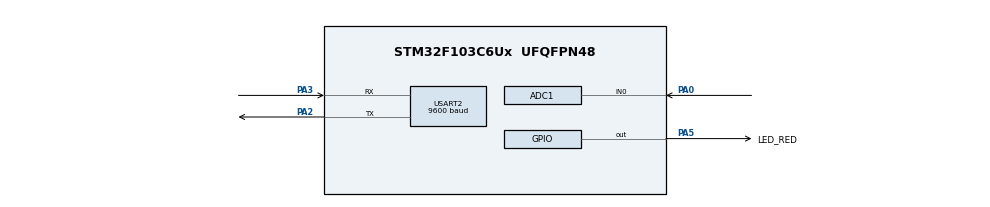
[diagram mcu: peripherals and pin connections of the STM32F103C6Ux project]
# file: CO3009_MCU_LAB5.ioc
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ADC1.Channel-0\#ChannelRegularConversion=ADC_CHANNEL_0
ADC1.ContinuousConvMode=ENABLE
ADC1.NbrOfConversionFlag=1
ADC1.Rank-0\#ChannelRegularConversion=1
ADC1.SamplingTime-0\#ChannelRegularConversion=ADC_SAMPLETIME_1CYCLE_5
ADC1.master=1
Mcu.Family=STM32F1
Mcu.Name=STM32F103C6Ux
Mcu.Package=UFQFPN48
NVIC.PriorityGroup=NVIC_PRIORITYGROUP_4
NVIC.TIM2_IRQn=true\:0\:0\:false\:false\:true\:true\:true
NVIC.USART2_IRQn=true\:0\:0\:false\:false\:true\:true\:true
PA0-WKUP.Signal=ADCx_IN0
PA2.Mode=Asynchronous
PA2.Signal=USART2_TX
PA3.Mode=Asynchronous
PA3.Signal=USART2_RX
PA5.GPIO_Label=LED_RED
PA5.Signal=GPIO_Output
ProjectManager.HeapSize=0x200
ProjectManager.StackSize=0x400
ProjectManager.TargetToolchain=STM32CubeIDE
RCC.APB1Freq_Value=8000000
RCC.APB2Freq_Value=8000000
SH.ADCx_IN0.0=ADC1_IN0,IN0
TIM2.Period=9
TIM2.Prescaler=7999
USART2.BaudRate=9600
USART2.VirtualMode=VM_ASYNC
VP_SYS_VS_ND.Mode=No_Debug
VP_TIM2_VS_ClockSourceINT.Mode=Internal
board=custom

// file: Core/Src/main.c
/* USER CODE BEGIN Header */
/**
  ******************************************************************************
  * @file           : main.c
  * @brief          : Main program body
  ******************************************************************************
  * @attention
  *
  * <h2><center>&copy; Copyright (c) 2021 STMicroelectronics.
  * All rights reserved.</center></h2>
  *
  * This software component is licensed by ST under BSD 3-Clause license,
  * the "License"; You may not use this file except in compliance with the
  * License. You may obtain a copy of the License at:
  *                        opensource.org/licenses/BSD-3-Clause
  *
  ******************************************************************************
  */
/* USER CODE END Header */
#include "main.h"

/* USER CODE BEGIN Includes */
#include "global.h"
#include <stdio.h>
#include "software_timer.h"
/* USER CODE END Includes */

ADC_HandleTypeDef hadc1;
TIM_HandleTypeDef htim2;
UART_HandleTypeDef huart2;

enum UART_STATE 	uartState = UART_INIT;
enum CMD_STATE		cmdState = CMD_IDLE;
enum ERROR_STATE	errState = ERROR_IDLE;

uint8_t flagForOK = 0;

int waitTimerCounter = 0;
int waitTimer_flag = 0;

int isRST = 0;
int isOK = 0;

void SystemClock_Config(void);
static void MX_GPIO_Init(void);
static void MX_ADC1_Init(void);
static void MX_TIM2_Init(void);
static void MX_USART2_UART_Init(void);

/* USER CODE BEGIN 0 */
uint8_t cmdBuffer[CMD_CONTENT_MAX_LENGTH];
uint8_t buffer_flag = 0;
uint8_t cmd_content_index = 0;
uint8_t tempValue = 0;
void HAL_UART_RxCpltCallback(UART_HandleTypeDef *huart) {
	if(huart->Instance == USART2){
		HAL_UART_Transmit(&huart2, &tempValue, 1, 50);
		cmd_content_index ++;
		cmdBuffer[cmd_content_index] = tempValue;
		buffer_flag = 1;
		if(cmd_content_index >= CMD_CONTENT_MAX_LENGTH){
			cmd_content_index = 0 ;
		}
		HAL_UART_Receive_IT(&huart2, &tempValue, 1);
	}
}

/* --------> FSM_UART <----------- */
uint32_t ADC_value = 0;
char response[RESPONSE_LENGTH];
uint8_t data[] = "HELLO WORLD \r\n";
void uart_communiation_fsm(){
	switch(uartState){
	case UART_INIT:

		break;
	case UART_RST:
		uartState = UART_RESPONSE;
		break;
	case UART_RESPONSE:
		ADC_value = HAL_ADC_GetValue(&hadc1);
		HAL_UART_Transmit(&huart2, (void *)response, sprintf(response, "!ADC%ld#\r", ADC_value), 1000);
		HAL_GPIO_TogglePin(LED_RED_GPIO_Port, LED_RED_Pin);
		setTimer(TIME_FOR_5S);
		uartState = UART_WAIT_OK;
		break;
	case UART_WAIT_OK:
		if(waitTimer_flag == 1) {
			uartState = UART_END;
		}
		break;
	case UART_END:
		if(isOK == 1) isOK = 0;
		HAL_UART_Transmit(&huart2, (void *)response, sprintf(response, "END RST\r\n"), 1000);
		uartState = UART_INIT;
		break;
	case UART_ERROR:
		HAL_UART_Transmit(&huart2, (void *)response, sprintf(response, "SOMETHING WRONG HAPPENNED !!!\r\n"), 1000);
		uartState = UART_INIT;
		break;
	default:
		break;
	}
}

void command_parser_fsm(){
	switch(cmdState){
	case CMD_IDLE:
		if(cmdBuffer[cmd_content_index] == '!'){
			cmdState = CMD_EXCLAMATION;
		}
		else if(cmdBuffer[cmd_content_index] == '\r' || cmdBuffer[cmd_content_index] == '\n'){
			cmdState = CMD_IDLE;
		}
		break;
	case CMD_EXCLAMATION:
		if(cmdBuffer[cmd_content_index] == 'R'){
			cmdState = CMD_R;
		}
		else if(cmdBuffer[cmd_content_index] == 'O'){
			cmdState = CMD_O;
		}
		else if(cmdBuffer[cmd_content_index] == '\r' || cmdBuffer[cmd_content_index] == '\n'){
			cmdState = CMD_IDLE;
			cmd_content_index = 0;
			uartState = UART_ERROR;
		}
		break;
	case CMD_R:
		if(cmdBuffer[cmd_content_index] == 'S'){
			cmdState = CMD_S;
		}
		else if(cmdBuffer[cmd_content_index] == '\r' || cmdBuffer[cmd_content_index] == '\n'){
			cmdState = CMD_IDLE;
			cmd_content_index = 0;
			uartState = UART_ERROR;
		}
		break;
	case CMD_S:
		if(cmdBuffer[cmd_content_index] == 'T'){
			cmdState = CMD_T;
		}
		else if(cmdBuffer[cmd_content_index] == '\r' || cmdBuffer[cmd_content_index] == '\n'){
			cmdState = CMD_IDLE;
			cmd_content_index = 0;
			uartState = UART_ERROR;
		}
		break;
	case CMD_T:
		if(cmdBuffer[cmd_content_index] == '#'){
			cmdState = CMD_HASTAG_T;
			isRST = 1;
		}
		else if(cmdBuffer[cmd_content_index] == '\r' || cmdBuffer[cmd_content_index] == '\n'){
			cmdState = CMD_IDLE;
			cmd_content_index = 0;
			uartState = UART_ERROR;
		}
		break;
	case CMD_O:
		if(cmdBuffer[cmd_content_index] == 'K'){
			cmdState = CMD_K;
		}
		else if(cmdBuffer[cmd_content_index] == '\r' || cmdBuffer[cmd_content_index] == '\n'){
			cmdState = CMD_IDLE;
			cmd_content_index = 0;
			uartState = UART_ERROR;
		}
		break;
	case CMD_K:
		if(cmdBuffer[cmd_content_index] == '#'){
			cmdState = CMD_HASTAG_K;
		}
		else if(cmdBuffer[cmd_content_index] == '\r' || cmdBuffer[cmd_content_index] == '\n'){
			cmdState = CMD_IDLE;
			cmd_content_index = 0;
			uartState = UART_ERROR;
		}
		break;
	case CMD_HASTAG_K:
		if(cmdBuffer[cmd_content_index] == '\r' || cmdBuffer[cmd_content_index] == '\n'){
			isOK = 1;
			uartState = UART_END;
			cmd_content_index = 0;
			cmdState = CMD_IDLE;
		}
		break;
	case CMD_HASTAG_T:
		if(cmdBuffer[cmd_content_index] == '\r' || cmdBuffer[cmd_content_index] == '\n'){
			uartState = UART_RST;
			cmdState = CMD_IDLE;
			cmd_content_index = 0;
		}
	default:
		break;
	}
}

/* -------->ERROR <------- */

uint8_t error_1[] = "\r\nERROR: CMD_NOT_EXISTED\r\n";
uint8_t error_2[] = "\r\nERROR: BUFFER_IS_FULL\r\n";
uint8_t error_3[] = "\r\nERROR: INVALID_INPUT\r\n";

void errorHandle(){
	switch(errState){
	case ERROR_IDLE:
		break;
	case CMD_NOT_EXISTED:
		HAL_UART_Transmit(&huart2, error_1, sizeof(error_1), 100);
		break;
	case BUFFER_IS_FULL:
		HAL_UART_Transmit(&huart2, error_2, sizeof(error_2), 100);
		break;
	case INVALID_INPUT:
		HAL_UART_Transmit(&huart2, error_3, sizeof(error_3), 100);
		break;
	default:
		break;
	}
}

/* USER CODE END 0 */

int main(void)
{

  /* MCU Configuration--------------------------------------------------------*/

  /* Reset of all peripherals, Initializes the Flash interface and the Systick. */
  HAL_Init();

  /* Configure the system clock */
  SystemClock_Config();

  /* Initialize all configured peripherals */
  MX_GPIO_Init();
  MX_ADC1_Init();
  MX_TIM2_Init();
  MX_USART2_UART_Init();
  /* USER CODE BEGIN 2 */
  //char response[RESPONSE_LENGTH];
  HAL_TIM_Base_Start_IT(&htim2);
  HAL_UART_Receive_IT (&huart2, &tempValue, 1);
  HAL_ADC_Start(&hadc1);

  char welcome[50];
  HAL_UART_Transmit(&huart2, (void *)welcome, sprintf(welcome, "--- START STM32 UART LAB5\r\n"), 50);
  /* USER CODE END 2 */

  /* Infinite loop */
  /* USER CODE BEGIN WHILE */
  //char response[50];
  while (1)
  {
    /* USER CODE END WHILE */
	  if(buffer_flag == 1){
		  command_parser_fsm();
		  buffer_flag = 0;
	  }
	  uart_communiation_fsm();
//	  HAL_GPIO_TogglePin(LED_RED_GPIO_Port, LED_RED_Pin);
//	  HAL_Delay(500);
  }
}

void SystemClock_Config(void)
{
  RCC_OscInitTypeDef RCC_OscInitStruct = {0};
  RCC_ClkInitTypeDef RCC_ClkInitStruct = {0};
  RCC_PeriphCLKInitTypeDef PeriphClkInit = {0};

  /** Initializes the RCC Oscillators according to the specified parameters
  * in the RCC_OscInitTypeDef structure.
  */
  RCC_OscInitStruct.OscillatorType = RCC_OSCILLATORTYPE_HSI;
  RCC_OscInitStruct.HSIState = RCC_HSI_ON;
  RCC_OscInitStruct.HSICalibrationValue = RCC_HSICALIBRATION_DEFAULT;
  RCC_OscInitStruct.PLL.PLLState = RCC_PLL_NONE;
  if (HAL_RCC_OscConfig(&RCC_OscInitStruct) != HAL_OK)
  {
    Error_Handler();
  }
  /** Initializes the CPU, AHB and APB buses clocks
  */
  RCC_ClkInitStruct.ClockType = RCC_CLOCKTYPE_HCLK|RCC_CLOCKTYPE_SYSCLK
                              |RCC_CLOCKTYPE_PCLK1|RCC_CLOCKTYPE_PCLK2;
  RCC_ClkInitStruct.SYSCLKSource = RCC_SYSCLKSOURCE_HSI;
  RCC_ClkInitStruct.AHBCLKDivider = RCC_SYSCLK_DIV1;
  RCC_ClkInitStruct.APB1CLKDivider = RCC_HCLK_DIV1;
  RCC_ClkInitStruct.APB2CLKDivider = RCC_HCLK_DIV1;

  if (HAL_RCC_ClockConfig(&RCC_ClkInitStruct, FLASH_LATENCY_0) != HAL_OK)
  {
    Error_Handler();
  }
  PeriphClkInit.PeriphClockSelection = RCC_PERIPHCLK_ADC;
  PeriphClkInit.AdcClockSelection = RCC_ADCPCLK2_DIV2;
  if (HAL_RCCEx_PeriphCLKConfig(&PeriphClkInit) != HAL_OK)
  {
    Error_Handler();
  }
}

static void MX_ADC1_Init(void)
{

  ADC_ChannelConfTypeDef sConfig = {0};

  /** Common config
  */
  hadc1.Instance = ADC1;
  hadc1.Init.ScanConvMode = ADC_SCAN_DISABLE;
  hadc1.Init.ContinuousConvMode = ENABLE;
  hadc1.Init.DiscontinuousConvMode = DISABLE;
  hadc1.Init.ExternalTrigConv = ADC_SOFTWARE_START;
  hadc1.Init.DataAlign = ADC_DATAALIGN_RIGHT;
  hadc1.Init.NbrOfConversion = 1;
  if (HAL_ADC_Init(&hadc1) != HAL_OK)
  {
    Error_Handler();
  }
  /** Configure Regular Channel
  */
  sConfig.Channel = ADC_CHANNEL_0;
  sConfig.Rank = ADC_REGULAR_RANK_1;
  sConfig.SamplingTime = ADC_SAMPLETIME_1CYCLE_5;
  if (HAL_ADC_ConfigChannel(&hadc1, &sConfig) != HAL_OK)
  {
    Error_Handler();
  }

}

static void MX_TIM2_Init(void)
{

  TIM_ClockConfigTypeDef sClockSourceConfig = {0};
  TIM_MasterConfigTypeDef sMasterConfig = {0};

  htim2.Instance = TIM2;
  htim2.Init.Prescaler = 7999;
  htim2.Init.CounterMode = TIM_COUNTERMODE_UP;
  htim2.Init.Period = 9;
  htim2.Init.ClockDivision = TIM_CLOCKDIVISION_DIV1;
  htim2.Init.AutoReloadPreload = TIM_AUTORELOAD_PRELOAD_DISABLE;
  if (HAL_TIM_Base_Init(&htim2) != HAL_OK)
  {
    Error_Handler();
  }
  sClockSourceConfig.ClockSource = TIM_CLOCKSOURCE_INTERNAL;
  if (HAL_TIM_ConfigClockSource(&htim2, &sClockSourceConfig) != HAL_OK)
  {
    Error_Handler();
  }
  sMasterConfig.MasterOutputTrigger = TIM_TRGO_RESET;
  sMasterConfig.MasterSlaveMode = TIM_MASTERSLAVEMODE_DISABLE;
  if (HAL_TIMEx_MasterConfigSynchronization(&htim2, &sMasterConfig) != HAL_OK)
  {
    Error_Handler();
  }

}

static void MX_USART2_UART_Init(void)
{

  huart2.Instance = USART2;
  huart2.Init.BaudRate = 9600;
  huart2.Init.WordLength = UART_WORDLENGTH_8B;
  huart2.Init.StopBits = UART_STOPBITS_1;
  huart2.Init.Parity = UART_PARITY_NONE;
  huart2.Init.Mode = UART_MODE_TX_RX;
  huart2.Init.HwFlowCtl = UART_HWCONTROL_NONE;
  huart2.Init.OverSampling = UART_OVERSAMPLING_16;
  if (HAL_UART_Init(&huart2) != HAL_OK)
  {
    Error_Handler();
  }

}

static void MX_GPIO_Init(void)
{
  GPIO_InitTypeDef GPIO_InitStruct = {0};

  /* GPIO Ports Clock Enable */
  __HAL_RCC_GPIOA_CLK_ENABLE();

  /*Configure GPIO pin Output Level */
  HAL_GPIO_WritePin(LED_RED_GPIO_Port, LED_RED_Pin, GPIO_PIN_RESET);

  /*Configure GPIO pin : LED_RED_Pin */
  GPIO_InitStruct.Pin = LED_RED_Pin;
  GPIO_InitStruct.Mode = GPIO_MODE_OUTPUT_PP;
  GPIO_InitStruct.Pull = GPIO_NOPULL;
  GPIO_InitStruct.Speed = GPIO_SPEED_FREQ_LOW;
  HAL_GPIO_Init(LED_RED_GPIO_Port, &GPIO_InitStruct);

}

/* USER CODE BEGIN 4 */
void HAL_TIM_PeriodElapsedCallback (TIM_HandleTypeDef * htim) {
	timer_run();
}

/* USER CODE END 4 */

void Error_Handler(void)
{
  __disable_irq();
  while (1)
  {
  }
}

/************************ (C) COPYRIGHT STMicroelectronics *****END OF FILE****/
